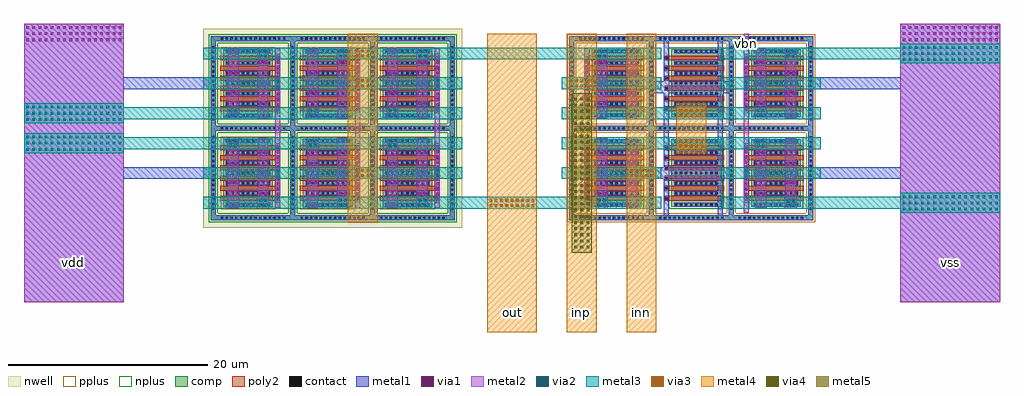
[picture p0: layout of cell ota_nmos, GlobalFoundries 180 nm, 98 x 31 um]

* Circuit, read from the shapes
.subckt ota_nmos inn inp out vbn vdd vss
XM1 out inn n1 vss nfet_03v3 w=5u l=0.5u m=6
XM2 n2 inp n1 vss nfet_03v3 w=5u l=0.5u m=6
XM3 vss vss vss vss nfet_03v3 w=5u l=0.5u m=12
XM4 n1 vbn vss vss nfet_03v3 w=5u l=0.5u m=12
XM5 out n2 vdd vdd pfet_03v3 w=5u l=0.5u m=18
XM6 n2 n2 vdd vdd pfet_03v3 w=5u l=0.5u m=18
.ends

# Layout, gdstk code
from math import pi, radians
import gdstk
lib = gdstk.Library(unit=1e-6, precision=1e-09)
def R(c, l, rs):  # rectangles x0, y0, x1, y1
    for r in rs: c.add(gdstk.rectangle(r[:2], r[2:], *l))
def A(c, l, x, y, w, h, nx, ny, dx, dy):  # array of equal rectangles
    R(c, l, [(x+i*dx, y+j*dy, x+i*dx+w, y+j*dy+h) for i in range(nx) for j in range(ny)])
nwell = (21, 0)
comp = (22, 0)
poly2 = (30, 0)
pplus = (31, 0)
nplus = (32, 0)
contact = (33, 0)
metal1 = (34, 0)
via1 = (35, 0)
metal2 = (36, 0)
via2 = (38, 0)
via3 = (40, 0)
via4 = (41, 0)
metal3 = (42, 0)
metal4 = (46, 0)
metal5 = (81, 0)

via_dev_37 = lib.new_cell('via_dev$37')

via_dev_38 = lib.new_cell('via_dev$38')
R(via_dev_38, comp, [(0,0,0.5,7)])
A(via_dev_38, contact, 0.14, 0.27, 0.22, 0.22, 1, 14, 0, 0.48)
R(via_dev_38, metal1, [(0,0,0.5,7)])

via_dev_39 = lib.new_cell('via_dev$39')
R(via_dev_39, comp, [(0,0,8,0.5)])
A(via_dev_39, contact, 0.29, 0.14, 0.22, 0.22, 16, 1, 0.48, 0)
R(via_dev_39, metal1, [(0,0,8,0.5)])

nfet_2 = lib.new_cell('nfet$2')
R(nfet_2, comp, [(-0.42,0,0,5), (0,0,5.98,5), (5.98,0,6.4,5)])
A(nfet_2, poly2, 0.19, -0.3, 0.5, 5.6, 6, 1, 1.02, 0)
A(nfet_2, poly2, 0.19, 5.3, 0.5, 0.36, 6, 1, 1.02, 0)
R(nfet_2, nplus, [(-0.59,-0.24,6.57,5.24)])
A(nfet_2, contact, -0.32, 0.35, 0.22, 0.22, 1, 9, 0, 0.51)
A(nfet_2, contact, 0.84, 0.35, 0.22, 0.22, 5, 9, 1.02, 0.51)
A(nfet_2, contact, 6.08, 0.35, 0.22, 0.22, 1, 9, 0, 0.51)
A(nfet_2, contact, 0.33, 5.37, 0.22, 0.22, 6, 1, 1.02, 0)
A(nfet_2, metal1, 0.76, 0.27, 0.38, 4.46, 5, 1, 1.02, 0)
A(nfet_2, metal1, 0.25, 5.289, 0.38, 0.382, 6, 1, 1.02, 0)
R(nfet_2, metal1, [(-0.4,0.27,-0.02,4.73), (6,0.27,6.38,4.73)])

via_dev_40 = lib.new_cell('via_dev$40')
R(via_dev_40, metal1, [(0,0,0.5,1.1)])
R(via_dev_40, via1, [(0.12,0.155,0.38,0.415), (0.12,0.685,0.38,0.945)])
R(via_dev_40, metal2, [(0,0,0.5,1.1)])

via_dev_41 = lib.new_cell('via_dev$41')
R(via_dev_41, metal1, [(0,0,6,0.5)])
A(via_dev_41, via1, 0.22, 0.12, 0.26, 0.26, 11, 1, 0.53, 0)
R(via_dev_41, metal2, [(0,0,6,0.5)])

tile_nmos_l0p5_w5_nf6_1 = lib.new_cell('TILE_NMOS_L0P5_W5_NF6$1')
tile_nmos_l0p5_w5_nf6_1.add(gdstk.FlexPath([(-4.5,8.25),(-4.5,-0.25)], 0.5, ends="flush", simple_path=True, layer=34, datatype=0))  # metal1
tile_nmos_l0p5_w5_nf6_1.add(gdstk.FlexPath([(4.5,8.25),(4.5,-0.25)], 0.5, ends="flush", simple_path=True, layer=34, datatype=0))  # metal1
tile_nmos_l0p5_w5_nf6_1.add(gdstk.FlexPath([(-4.75,8),(4.75,8)], 0.5, ends="flush", simple_path=True, layer=34, datatype=0))  # metal1
tile_nmos_l0p5_w5_nf6_1.add(gdstk.FlexPath([(-4.75,0),(4.75,0)], 0.5, ends="flush", simple_path=True, layer=34, datatype=0))  # metal1
tile_nmos_l0p5_w5_nf6_1.add(gdstk.FlexPath([(-3,6.5),(3,6.5)], 0.5, ends="flush", simple_path=True, layer=34, datatype=0))  # metal1
tile_nmos_l0p5_w5_nf6_1.add(gdstk.FlexPath([(4.5,8.25),(4.5,-0.25)], 0.5, ends="flush", simple_path=True, layer=22, datatype=0))  # comp
tile_nmos_l0p5_w5_nf6_1.add(gdstk.FlexPath([(-4.5,8.25),(-4.5,-0.25)], 0.5, ends="flush", simple_path=True, layer=22, datatype=0))  # comp
tile_nmos_l0p5_w5_nf6_1.add(gdstk.FlexPath([(-4.75,8),(4.75,8)], 0.5, ends="flush", simple_path=True, layer=22, datatype=0))  # comp
tile_nmos_l0p5_w5_nf6_1.add(gdstk.FlexPath([(-4.75,0),(4.75,0)], 0.5, ends="flush", simple_path=True, layer=22, datatype=0))  # comp
tile_nmos_l0p5_w5_nf6_1.add(gdstk.FlexPath([(-3.5,2),(3.5,2)], 1.1, ends="flush", simple_path=True, layer=36, datatype=0))  # metal2
tile_nmos_l0p5_w5_nf6_1.add(gdstk.FlexPath([(-3.5,5),(3.5,5)], 1.1, ends="flush", simple_path=True, layer=36, datatype=0))  # metal2
tile_nmos_l0p5_w5_nf6_1.add(gdstk.FlexPath([(-3.5,6.5),(3.5,6.5)], 0.5, ends="flush", simple_path=True, layer=36, datatype=0))  # metal2
tile_nmos_l0p5_w5_nf6_1.add(gdstk.FlexPath([(-4.95,8),(4.95,8)], 0.9, ends="flush", simple_path=True, layer=31, datatype=0))  # pplus
tile_nmos_l0p5_w5_nf6_1.add(gdstk.FlexPath([(-4.95,0),(4.95,0)], 0.9, ends="flush", simple_path=True, layer=31, datatype=0))  # pplus
tile_nmos_l0p5_w5_nf6_1.add(gdstk.FlexPath([(-4.95,8),(4.95,8)], 0.9, ends="flush", simple_path=True, layer=31, datatype=0))  # pplus
tile_nmos_l0p5_w5_nf6_1.add(gdstk.FlexPath([(4.5,0),(4.5,8)], 0.9, ends="flush", simple_path=True, layer=31, datatype=0))  # pplus
tile_nmos_l0p5_w5_nf6_1.add(gdstk.FlexPath([(-4.5,0),(-4.5,8)], 0.9, ends="flush", simple_path=True, layer=31, datatype=0))  # pplus
tile_nmos_l0p5_w5_nf6_1.add(gdstk.Reference(via_dev_37, (-0.62,-0.915)))
tile_nmos_l0p5_w5_nf6_1.add(gdstk.Reference(via_dev_38, (-4.75,0.5)))
tile_nmos_l0p5_w5_nf6_1.add(gdstk.Reference(via_dev_38, (4.25,0.5)))
tile_nmos_l0p5_w5_nf6_1.add(gdstk.Reference(via_dev_39, (-4,-0.25)))
tile_nmos_l0p5_w5_nf6_1.add(gdstk.Reference(nfet_2, (-2.99,1)))
tile_nmos_l0p5_w5_nf6_1.add(gdstk.Reference(via_dev_40, (-3.45,1.45)))
tile_nmos_l0p5_w5_nf6_1.add(gdstk.Reference(via_dev_40, (-1.27,1.45)))
tile_nmos_l0p5_w5_nf6_1.add(gdstk.Reference(via_dev_40, (0.77,1.45)))
tile_nmos_l0p5_w5_nf6_1.add(gdstk.Reference(via_dev_40, (2.95,1.45)))
tile_nmos_l0p5_w5_nf6_1.add(gdstk.Reference(via_dev_40, (1.79,4.45)))
tile_nmos_l0p5_w5_nf6_1.add(gdstk.Reference(via_dev_40, (-0.25,4.45)))
tile_nmos_l0p5_w5_nf6_1.add(gdstk.Reference(via_dev_40, (-2.29,4.45)))
tile_nmos_l0p5_w5_nf6_1.add(gdstk.Reference(via_dev_41, (-3,6.25)))
tile_nmos_l0p5_w5_nf6_1.add(gdstk.Reference(via_dev_39, (-4,7.75)))

via_dev_42 = lib.new_cell('via_dev$42')
R(via_dev_42, metal2, [(0,0,1.2,1.2)])
R(via_dev_42, via2, [(0.205,0.205,0.465,0.465), (0.735,0.205,0.995,0.465), (0.205,0.735,0.465,0.995), (0.735,0.735,0.995,0.995)])
R(via_dev_42, metal3, [(0,0,1.2,1.2)])

via_dev_43 = lib.new_cell('via_dev$43')
R(via_dev_43, metal2, [(0,0,0.5,1.2)])
R(via_dev_43, via2, [(0.12,0.205,0.38,0.465), (0.12,0.735,0.38,0.995)])
R(via_dev_43, metal3, [(0,0,0.5,1.2)])

tile_nmos_l0p5_w5_nf6_h = lib.new_cell('TILE_NMOS_L0P5_W5_NF6_H')
tile_nmos_l0p5_w5_nf6_h.add(gdstk.FlexPath([(-9,3),(1,3)], 1.2, ends="flush", simple_path=True, layer=42, datatype=0))  # metal3
tile_nmos_l0p5_w5_nf6_h.add(gdstk.FlexPath([(-9,0),(1,0)], 1.2, ends="flush", simple_path=True, layer=42, datatype=0))  # metal3
tile_nmos_l0p5_w5_nf6_h.add(gdstk.FlexPath([(-9,-3),(1,-3)], 1.2, ends="flush", simple_path=True, layer=42, datatype=0))  # metal3
tile_nmos_l0p5_w5_nf6_h.add(gdstk.Reference(tile_nmos_l0p5_w5_nf6_1, (0,0), rotation=pi/2))
tile_nmos_l0p5_w5_nf6_h.add(gdstk.Reference(via_dev_42, (-5.6,2.4)))
tile_nmos_l0p5_w5_nf6_h.add(gdstk.Reference(via_dev_42, (-2.6,-3.6)))
tile_nmos_l0p5_w5_nf6_h.add(gdstk.Reference(via_dev_43, (-6.75,-0.6)))

via_dev_7_1 = lib.new_cell('via_dev$7$1')
R(via_dev_7_1, metal2, [(0,0,10,2)])
A(via_dev_7_1, via2, 0.22, 0.25, 0.26, 0.26, 16, 3, 0.62, 0.62)
R(via_dev_7_1, metal3, [(0,0,10,2)])

via_dev_28 = lib.new_cell('via_dev$28')

via_dev_31 = lib.new_cell('via_dev$31')
R(via_dev_31, comp, [(0,0,0.5,7)])
A(via_dev_31, contact, 0.14, 0.27, 0.22, 0.22, 1, 14, 0, 0.48)
R(via_dev_31, metal1, [(0,0,0.5,7)])

via_dev_32 = lib.new_cell('via_dev$32')
R(via_dev_32, comp, [(0,0,8,0.5)])
A(via_dev_32, contact, 0.29, 0.14, 0.22, 0.22, 16, 1, 0.48, 0)
R(via_dev_32, metal1, [(0,0,8,0.5)])

pfet_2 = lib.new_cell('pfet$2')
R(pfet_2, nwell, [(-0.9,-0.44,6.88,5.44)])
R(pfet_2, comp, [(-0.46,0,0,5), (0,0,5.98,5), (5.98,0,6.44,5)])
A(pfet_2, poly2, 0.19, -0.3, 0.5, 5.6, 6, 1, 1.02, 0)
A(pfet_2, poly2, 0.19, 5.3, 0.5, 0.38, 6, 1, 1.02, 0)
R(pfet_2, pplus, [(-0.63,-0.24,6.61,5.24)])
A(pfet_2, contact, -0.34, 0.35, 0.22, 0.22, 1, 9, 0, 0.51)
A(pfet_2, contact, 0.84, 0.35, 0.22, 0.22, 5, 9, 1.02, 0.51)
A(pfet_2, contact, 6.1, 0.35, 0.22, 0.22, 1, 9, 0, 0.51)
A(pfet_2, contact, 0.33, 5.38, 0.22, 0.22, 6, 1, 1.02, 0)
A(pfet_2, metal1, 0.76, 0.27, 0.38, 4.46, 5, 1, 1.02, 0)
A(pfet_2, metal1, 0.25, 5.299, 0.38, 0.382, 6, 1, 1.02, 0)
R(pfet_2, metal1, [(-0.42,0.27,-0.04,4.73), (6.02,0.27,6.4,4.73)])

via_dev_33 = lib.new_cell('via_dev$33')
R(via_dev_33, metal1, [(0,0,0.5,1.1)])
R(via_dev_33, via1, [(0.12,0.155,0.38,0.415), (0.12,0.685,0.38,0.945)])
R(via_dev_33, metal2, [(0,0,0.5,1.1)])

via_dev_34 = lib.new_cell('via_dev$34')
R(via_dev_34, metal1, [(0,0,6,0.5)])
A(via_dev_34, via1, 0.22, 0.12, 0.26, 0.26, 11, 1, 0.53, 0)
R(via_dev_34, metal2, [(0,0,6,0.5)])

tile_pmos_l0p5_w5_nf6_2 = lib.new_cell('TILE_PMOS_L0P5_W5_NF6$2')
R(tile_pmos_l0p5_w5_nf6_2, nwell, [(-5.5,-1,5.5,9)])
tile_pmos_l0p5_w5_nf6_2.add(gdstk.FlexPath([(-4.5,8.25),(-4.5,-0.25)], 0.5, ends="flush", simple_path=True, layer=34, datatype=0))  # metal1
tile_pmos_l0p5_w5_nf6_2.add(gdstk.FlexPath([(4.5,8.25),(4.5,-0.25)], 0.5, ends="flush", simple_path=True, layer=34, datatype=0))  # metal1
tile_pmos_l0p5_w5_nf6_2.add(gdstk.FlexPath([(-4.75,8),(4.75,8)], 0.5, ends="flush", simple_path=True, layer=34, datatype=0))  # metal1
tile_pmos_l0p5_w5_nf6_2.add(gdstk.FlexPath([(-4.75,0),(4.75,0)], 0.5, ends="flush", simple_path=True, layer=34, datatype=0))  # metal1
tile_pmos_l0p5_w5_nf6_2.add(gdstk.FlexPath([(-3,6.5),(3,6.5)], 0.5, ends="flush", simple_path=True, layer=34, datatype=0))  # metal1
tile_pmos_l0p5_w5_nf6_2.add(gdstk.FlexPath([(-4.95,0),(4.95,0)], 0.9, ends="flush", simple_path=True, layer=32, datatype=0))  # nplus
tile_pmos_l0p5_w5_nf6_2.add(gdstk.FlexPath([(-4.95,8),(4.95,8)], 0.9, ends="flush", simple_path=True, layer=32, datatype=0))  # nplus
tile_pmos_l0p5_w5_nf6_2.add(gdstk.FlexPath([(4.5,0),(4.5,8)], 0.9, ends="flush", simple_path=True, layer=32, datatype=0))  # nplus
tile_pmos_l0p5_w5_nf6_2.add(gdstk.FlexPath([(-4.5,0),(-4.5,8)], 0.9, ends="flush", simple_path=True, layer=32, datatype=0))  # nplus
tile_pmos_l0p5_w5_nf6_2.add(gdstk.FlexPath([(4.5,8.25),(4.5,-0.25)], 0.5, ends="flush", simple_path=True, layer=22, datatype=0))  # comp
tile_pmos_l0p5_w5_nf6_2.add(gdstk.FlexPath([(-4.5,8.25),(-4.5,-0.25)], 0.5, ends="flush", simple_path=True, layer=22, datatype=0))  # comp
tile_pmos_l0p5_w5_nf6_2.add(gdstk.FlexPath([(-4.75,8),(4.75,8)], 0.5, ends="flush", simple_path=True, layer=22, datatype=0))  # comp
tile_pmos_l0p5_w5_nf6_2.add(gdstk.FlexPath([(-4.75,0),(4.75,0)], 0.5, ends="flush", simple_path=True, layer=22, datatype=0))  # comp
tile_pmos_l0p5_w5_nf6_2.add(gdstk.FlexPath([(-3.5,2),(3.5,2)], 1.1, ends="flush", simple_path=True, layer=36, datatype=0))  # metal2
tile_pmos_l0p5_w5_nf6_2.add(gdstk.FlexPath([(-3.5,5),(3.5,5)], 1.1, ends="flush", simple_path=True, layer=36, datatype=0))  # metal2
tile_pmos_l0p5_w5_nf6_2.add(gdstk.FlexPath([(-3.5,6.5),(3.5,6.5)], 0.5, ends="flush", simple_path=True, layer=36, datatype=0))  # metal2
tile_pmos_l0p5_w5_nf6_2.add(gdstk.Reference(via_dev_28, (-0.62,-0.915)))
tile_pmos_l0p5_w5_nf6_2.add(gdstk.Reference(via_dev_31, (-4.75,0.5)))
tile_pmos_l0p5_w5_nf6_2.add(gdstk.Reference(via_dev_31, (4.25,0.5)))
tile_pmos_l0p5_w5_nf6_2.add(gdstk.Reference(via_dev_32, (-4,-0.25)))
tile_pmos_l0p5_w5_nf6_2.add(gdstk.Reference(pfet_2, (-2.99,1)))
tile_pmos_l0p5_w5_nf6_2.add(gdstk.Reference(via_dev_33, (-3.45,1.45)))
tile_pmos_l0p5_w5_nf6_2.add(gdstk.Reference(via_dev_33, (-1.27,1.45)))
tile_pmos_l0p5_w5_nf6_2.add(gdstk.Reference(via_dev_33, (0.77,1.45)))
tile_pmos_l0p5_w5_nf6_2.add(gdstk.Reference(via_dev_33, (2.95,1.45)))
tile_pmos_l0p5_w5_nf6_2.add(gdstk.Reference(via_dev_33, (1.79,4.45)))
tile_pmos_l0p5_w5_nf6_2.add(gdstk.Reference(via_dev_33, (-0.25,4.45)))
tile_pmos_l0p5_w5_nf6_2.add(gdstk.Reference(via_dev_33, (-2.29,4.45)))
tile_pmos_l0p5_w5_nf6_2.add(gdstk.Reference(via_dev_34, (-3,6.25)))
tile_pmos_l0p5_w5_nf6_2.add(gdstk.Reference(via_dev_32, (-4,7.75)))

via_dev_35 = lib.new_cell('via_dev$35')
R(via_dev_35, metal2, [(0,0,1.2,1.2)])
R(via_dev_35, via2, [(0.205,0.205,0.465,0.465), (0.735,0.205,0.995,0.465), (0.205,0.735,0.465,0.995), (0.735,0.735,0.995,0.995)])
R(via_dev_35, metal3, [(0,0,1.2,1.2)])

via_dev_36 = lib.new_cell('via_dev$36')
R(via_dev_36, metal2, [(0,0,0.5,1.2)])
R(via_dev_36, via2, [(0.12,0.205,0.38,0.465), (0.12,0.735,0.38,0.995)])
R(via_dev_36, metal3, [(0,0,0.5,1.2)])

tile_pmos_l0p5_w5_nf6_h_ = lib.new_cell('TILE_PMOS_L0P5_W5_NF6_H$2')
tile_pmos_l0p5_w5_nf6_h_.add(gdstk.FlexPath([(-9,3),(1,3)], 1.2, ends="flush", simple_path=True, layer=42, datatype=0))  # metal3
tile_pmos_l0p5_w5_nf6_h_.add(gdstk.FlexPath([(-9,0),(1,0)], 1.2, ends="flush", simple_path=True, layer=42, datatype=0))  # metal3
tile_pmos_l0p5_w5_nf6_h_.add(gdstk.FlexPath([(-9,-3),(1,-3)], 1.2, ends="flush", simple_path=True, layer=42, datatype=0))  # metal3
tile_pmos_l0p5_w5_nf6_h_.add(gdstk.Reference(tile_pmos_l0p5_w5_nf6_2, (0,0), rotation=pi/2))
tile_pmos_l0p5_w5_nf6_h_.add(gdstk.Reference(via_dev_35, (-5.6,2.4)))
tile_pmos_l0p5_w5_nf6_h_.add(gdstk.Reference(via_dev_35, (-2.6,-3.6)))
tile_pmos_l0p5_w5_nf6_h_.add(gdstk.Reference(via_dev_36, (-6.75,-0.6)))

via_dev_15_1 = lib.new_cell('via_dev$15$1')
A(via_dev_15_1, via3, 0.31, 0.205, 0.26, 0.26, 5, 2, 0.53, 0.53)
R(via_dev_15_1, metal3, [(0,0,3,1.2)])
R(via_dev_15_1, metal4, [(0,0,3,1.2)])

via_dev_17_1 = lib.new_cell('via_dev$17$1')
A(via_dev_17_1, via4, 0.25, 0.43, 0.26, 0.26, 3, 25, 0.62, 0.62)
R(via_dev_17_1, metal4, [(0,0,2,16)])
R(via_dev_17_1, metal5, [(0,0,2,16)])

via_dev_18_1 = lib.new_cell('via_dev$18$1')
A(via_dev_18_1, via3, 0.25, 0.205, 0.26, 0.26, 9, 2, 0.53, 0.53)
R(via_dev_18_1, metal3, [(0,0,5,1.2)])
R(via_dev_18_1, metal4, [(0,0,5,1.2)])

via_dev_19_1 = lib.new_cell('via_dev$19$1')
A(via_dev_19_1, via3, 0.34, 0.205, 0.26, 0.26, 3, 2, 0.53, 0.53)
R(via_dev_19_1, metal3, [(0,0,2,1.2)])
R(via_dev_19_1, metal4, [(0,0,2,1.2)])

via_dev_30 = lib.new_cell('via_dev$30')
R(via_dev_30, metal1, [(0,0,10,2)])
A(via_dev_30, via1, 0.22, 0.25, 0.26, 0.26, 16, 3, 0.62, 0.62)
R(via_dev_30, metal2, [(0,0,10,2)])

via_dev_44 = lib.new_cell('via_dev$44')

via_dev_45 = lib.new_cell('via_dev$45')
R(via_dev_45, comp, [(0,0,0.5,7)])
A(via_dev_45, contact, 0.14, 0.27, 0.22, 0.22, 1, 14, 0, 0.48)
R(via_dev_45, metal1, [(0,0,0.5,7)])

via_dev_46 = lib.new_cell('via_dev$46')
R(via_dev_46, comp, [(0,0,8,0.5)])
A(via_dev_46, contact, 0.29, 0.14, 0.22, 0.22, 16, 1, 0.48, 0)
R(via_dev_46, metal1, [(0,0,8,0.5)])

nfet_3 = lib.new_cell('nfet$3')
R(nfet_3, comp, [(-0.42,0,0,5), (0,0,5.98,5), (5.98,0,6.4,5)])
A(nfet_3, poly2, 0.19, -0.3, 0.5, 5.6, 6, 1, 1.02, 0)
A(nfet_3, poly2, 0.19, 5.3, 0.5, 0.36, 6, 1, 1.02, 0)
R(nfet_3, nplus, [(-0.59,-0.24,6.57,5.24)])
A(nfet_3, contact, -0.32, 0.35, 0.22, 0.22, 1, 9, 0, 0.51)
A(nfet_3, contact, 0.84, 0.35, 0.22, 0.22, 5, 9, 1.02, 0.51)
A(nfet_3, contact, 6.08, 0.35, 0.22, 0.22, 1, 9, 0, 0.51)
A(nfet_3, contact, 0.33, 5.37, 0.22, 0.22, 6, 1, 1.02, 0)
A(nfet_3, metal1, 0.76, 0.27, 0.38, 4.46, 5, 1, 1.02, 0)
A(nfet_3, metal1, 0.25, 5.289, 0.38, 0.382, 6, 1, 1.02, 0)
R(nfet_3, metal1, [(-0.4,0.27,-0.02,4.73), (6,0.27,6.38,4.73)])

tile_nmos_l0p5_w5_nf6_du = lib.new_cell('TILE_NMOS_L0P5_W5_NF6_dummy$1')
tile_nmos_l0p5_w5_nf6_du.add(gdstk.FlexPath([(-4.5,1.08),(4.5,1.08)], 0.5, ends="flush", simple_path=True, layer=34, datatype=0))  # metal1
tile_nmos_l0p5_w5_nf6_du.add(gdstk.FlexPath([(-4.5,6.5),(4.5,6.5)], 0.5, ends="flush", simple_path=True, layer=34, datatype=0))  # metal1
tile_nmos_l0p5_w5_nf6_du.add(gdstk.FlexPath([(-4.5,8.25),(-4.5,-0.25)], 0.5, ends="flush", simple_path=True, layer=34, datatype=0))  # metal1
tile_nmos_l0p5_w5_nf6_du.add(gdstk.FlexPath([(4.5,8.25),(4.5,-0.25)], 0.5, ends="flush", simple_path=True, layer=34, datatype=0))  # metal1
tile_nmos_l0p5_w5_nf6_du.add(gdstk.FlexPath([(-4.75,8),(4.75,8)], 0.5, ends="flush", simple_path=True, layer=34, datatype=0))  # metal1
tile_nmos_l0p5_w5_nf6_du.add(gdstk.FlexPath([(-4.75,0),(4.75,0)], 0.5, ends="flush", simple_path=True, layer=34, datatype=0))  # metal1
tile_nmos_l0p5_w5_nf6_du.add(gdstk.FlexPath([(-3,6.5),(3,6.5)], 0.5, ends="flush", simple_path=True, layer=34, datatype=0))  # metal1
tile_nmos_l0p5_w5_nf6_du.add(gdstk.FlexPath([(4.5,8.25),(4.5,-0.25)], 0.5, ends="flush", simple_path=True, layer=22, datatype=0))  # comp
tile_nmos_l0p5_w5_nf6_du.add(gdstk.FlexPath([(-4.5,8.25),(-4.5,-0.25)], 0.5, ends="flush", simple_path=True, layer=22, datatype=0))  # comp
tile_nmos_l0p5_w5_nf6_du.add(gdstk.FlexPath([(-4.75,8),(4.75,8)], 0.5, ends="flush", simple_path=True, layer=22, datatype=0))  # comp
tile_nmos_l0p5_w5_nf6_du.add(gdstk.FlexPath([(-4.75,0),(4.75,0)], 0.5, ends="flush", simple_path=True, layer=22, datatype=0))  # comp
tile_nmos_l0p5_w5_nf6_du.add(gdstk.FlexPath([(-4.95,8),(4.95,8)], 0.9, ends="flush", simple_path=True, layer=31, datatype=0))  # pplus
tile_nmos_l0p5_w5_nf6_du.add(gdstk.FlexPath([(-4.95,0),(4.95,0)], 0.9, ends="flush", simple_path=True, layer=31, datatype=0))  # pplus
tile_nmos_l0p5_w5_nf6_du.add(gdstk.FlexPath([(-4.95,8),(4.95,8)], 0.9, ends="flush", simple_path=True, layer=31, datatype=0))  # pplus
tile_nmos_l0p5_w5_nf6_du.add(gdstk.FlexPath([(4.5,0),(4.5,8)], 0.9, ends="flush", simple_path=True, layer=31, datatype=0))  # pplus
tile_nmos_l0p5_w5_nf6_du.add(gdstk.FlexPath([(-4.5,0),(-4.5,8)], 0.9, ends="flush", simple_path=True, layer=31, datatype=0))  # pplus
tile_nmos_l0p5_w5_nf6_du.add(gdstk.Reference(via_dev_44, (-0.62,-0.915)))
tile_nmos_l0p5_w5_nf6_du.add(gdstk.Reference(via_dev_45, (-4.75,0.5)))
tile_nmos_l0p5_w5_nf6_du.add(gdstk.Reference(via_dev_45, (4.25,0.5)))
tile_nmos_l0p5_w5_nf6_du.add(gdstk.Reference(via_dev_46, (-4,-0.25)))
tile_nmos_l0p5_w5_nf6_du.add(gdstk.Reference(nfet_3, (-2.99,1)))
tile_nmos_l0p5_w5_nf6_du.add(gdstk.Reference(via_dev_46, (-4,7.75)))

tile_nmos_l0p5_w5_nf6_h_ = lib.new_cell('TILE_NMOS_L0P5_W5_NF6_H_dummy$1')
tile_nmos_l0p5_w5_nf6_h_.add(gdstk.Reference(tile_nmos_l0p5_w5_nf6_du, (0,0), rotation=pi/2))

ota_nmos = lib.new_cell('ota_nmos')
R(ota_nmos, metal1, [(-93,-8,-83,20), (-5,-8,5,20), (-93,4.4,-74.25,5.6), (-30,4.4,-21.89,5.6), (-13.75,4.4,5,5.6), (-30,13,-21.89,14.2), (-83,13.4,-74.25,14.6), (-13.75,13.4,-5,14.6)])
ota_nmos.add(gdstk.FlexPath([(-20.5,19),(-20.5,1)], 0.5, ends="flush", simple_path=True, layer=36, datatype=0))  # metal2
ota_nmos.add(gdstk.FlexPath([(-67.5,17),(-67.5,3)], 0.5, ends="flush", simple_path=True, layer=36, datatype=0))  # metal2
ota_nmos.add(gdstk.FlexPath([(-59.5,17),(-59.5,3)], 0.5, ends="flush", simple_path=True, layer=36, datatype=0))  # metal2
ota_nmos.add(gdstk.FlexPath([(-51.5,17),(-51.5,3)], 0.5, ends="flush", simple_path=True, layer=36, datatype=0))  # metal2
ota_nmos.add(gdstk.FlexPath([(-88,20),(-88,-8)], 10, ends="flush", simple_path=True, layer=36, datatype=0))  # metal2
ota_nmos.add(gdstk.FlexPath([(0,20),(0,-8)], 10, ends="flush", simple_path=True, layer=36, datatype=0))  # metal2
ota_nmos.add(gdstk.FlexPath([(-16.08,17),(5,17)], 1.2, ends="flush", simple_path=True, layer=42, datatype=0))  # metal3
ota_nmos.add(gdstk.FlexPath([(-16.08,2),(5,2)], 1.2, ends="flush", simple_path=True, layer=42, datatype=0))  # metal3
ota_nmos.add(gdstk.FlexPath([(-36,11),(-14.92,11)], 1.2, ends="flush", simple_path=True, layer=42, datatype=0))  # metal3
ota_nmos.add(gdstk.FlexPath([(-36,8),(-14.92,8)], 1.2, ends="flush", simple_path=True, layer=42, datatype=0))  # metal3
ota_nmos.add(gdstk.FlexPath([(-89.08,11),(-68,11)], 1.2, ends="flush", simple_path=True, layer=42, datatype=0))  # metal3
ota_nmos.add(gdstk.FlexPath([(-89.08,8),(-68,8)], 1.2, ends="flush", simple_path=True, layer=42, datatype=0))  # metal3
ota_nmos.add(gdstk.FlexPath([(-55.08,17),(-34,17)], 1.2, ends="flush", simple_path=True, layer=42, datatype=0))  # metal3
ota_nmos.add(gdstk.FlexPath([(-55.08,2),(-34,2)], 1.2, ends="flush", simple_path=True, layer=42, datatype=0))  # metal3
ota_nmos.add(gdstk.FlexPath([(-44,19),(-44,-11)], 5, ends="flush", simple_path=True, layer=46, datatype=0))  # metal4
ota_nmos.add(gdstk.FlexPath([(-59,19),(-59,0)], 3, ends="flush", simple_path=True, layer=46, datatype=0))  # metal4
ota_nmos.add(gdstk.FlexPath([(-37,19),(-37,-11)], 3, ends="flush", simple_path=True, layer=46, datatype=0))  # metal4
ota_nmos.add(gdstk.FlexPath([(-31,19),(-31,-11)], 3, ends="flush", simple_path=True, layer=46, datatype=0))  # metal4
ota_nmos.add(gdstk.FlexPath([(-26,12),(-26,7)], 3, ends="flush", simple_path=True, layer=46, datatype=0))  # metal4
r = gdstk.Reference(tile_nmos_l0p5_w5_nf6_h, (-30,5), x_reflection=True); r.repetition = gdstk.Repetition(1, 1, v1=(0,0), v2=(0,0)); ota_nmos.add(r)
r = gdstk.Reference(tile_nmos_l0p5_w5_nf6_h, (-14,5)); r.repetition = gdstk.Repetition(1, 1, v1=(0,0), v2=(0,0)); ota_nmos.add(r)
r = gdstk.Reference(tile_nmos_l0p5_w5_nf6_h, (-14,14), x_reflection=True); r.repetition = gdstk.Repetition(1, 1, v1=(0,0), v2=(0,0)); ota_nmos.add(r)
ota_nmos.add(gdstk.Reference(via_dev_7_1, (-5,16)))
r = gdstk.Reference(tile_pmos_l0p5_w5_nf6_h_, (-58,5), rotation=pi); r.repetition = gdstk.Repetition(3, 1, v1=(-8,0), v2=(0,0)); ota_nmos.add(r)
ota_nmos.add(gdstk.Reference(via_dev_7_1, (-93,10)))
ota_nmos.add(gdstk.Reference(via_dev_7_1, (-93,7)))
ota_nmos.add(gdstk.Reference(via_dev_15_1, (-38.5,13.4)))
ota_nmos.add(gdstk.Reference(via_dev_15_1, (-32.5,4.4)))
ota_nmos.add(gdstk.Reference(via_dev_17_1, (-38,-3)))
ota_nmos.add(gdstk.Reference(via_dev_18_1, (-46.5,1.4)))
ota_nmos.add(gdstk.Reference(via_dev_19_1, (-60,13.4)))
ota_nmos.add(gdstk.Reference(via_dev_19_1, (-60,4.4)))
ota_nmos.add(gdstk.Reference(via_dev_19_1, (-60,16.4)))
ota_nmos.add(gdstk.Reference(via_dev_15_1, (-27.5,7.4)))
ota_nmos.add(gdstk.Reference(via_dev_15_1, (-27.5,10.4)))
ota_nmos.add(gdstk.Reference(via_dev_30, (-93,18)))
ota_nmos.add(gdstk.Reference(via_dev_30, (-5,18)))
ota_nmos.add(gdstk.Reference(via_dev_7_1, (-5,1)))
r = gdstk.Reference(tile_nmos_l0p5_w5_nf6_h, (-30,14)); r.repetition = gdstk.Repetition(1, 1, v1=(0,0), v2=(0,0)); ota_nmos.add(r)
r = gdstk.Reference(tile_pmos_l0p5_w5_nf6_h_, (-58,14), rotation=pi, x_reflection=True); r.repetition = gdstk.Repetition(3, 1, v1=(-8,0), v2=(0,0)); ota_nmos.add(r)
ota_nmos.add(gdstk.Reference(tile_nmos_l0p5_w5_nf6_h_, (-22,14)))
ota_nmos.add(gdstk.Reference(tile_nmos_l0p5_w5_nf6_h_, (-22,5)))
ota_nmos.add(gdstk.Label('inn', (-31,-9), layer=46, texttype=10))
ota_nmos.add(gdstk.Label('inp', (-37,-9), layer=46, texttype=10))
ota_nmos.add(gdstk.Label('out', (-44,-9), layer=46, texttype=10))
ota_nmos.add(gdstk.Label('vss', (0,-4), layer=36, texttype=10))
ota_nmos.add(gdstk.Label('vdd', (-88,-4), layer=36, texttype=10))
ota_nmos.add(gdstk.Label('vbn', (-20.5,18), layer=36, texttype=10))

lib.write_gds('ota_nmos.gds')
